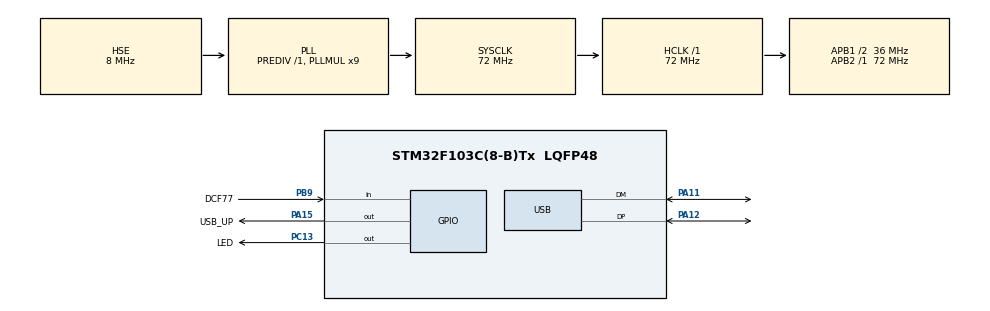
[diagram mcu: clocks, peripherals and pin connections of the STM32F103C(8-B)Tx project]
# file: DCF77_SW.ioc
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Mcu.Family=STM32F1
Mcu.Name=STM32F103C(8-B)Tx
Mcu.Package=LQFP48
NVIC.PriorityGroup=NVIC_PRIORITYGROUP_4
NVIC.RTC_IRQn=true\:0\:0\:false\:false\:true\:true
NVIC.USB_LP_CAN1_RX0_IRQn=true\:0\:0\:false\:false\:true\:false
PA11.Mode=Device
PA11.Signal=USB_DM
PA12.Mode=Device
PA12.Signal=USB_DP
PA13.Mode=Serial_Wire
PA13.Signal=SYS_JTMS-SWDIO
PA14.Mode=Serial_Wire
PA14.Signal=SYS_JTCK-SWCLK
PA15.GPIO_Label=USB_UP
PA15.PinState=GPIO_PIN_SET
PA15.Signal=GPIO_Output
PB9.GPIO_Label=DCF77
PB9.GPIO_PuPd=GPIO_PULLUP
PB9.Signal=GPIO_Input
PC13-TAMPER-RTC.GPIO_Label=LED
PC13-TAMPER-RTC.Signal=GPIO_Output
PC14-OSC32_IN.Mode=LSE-External-Oscillator
PC14-OSC32_IN.Signal=RCC_OSC32_IN
PC15-OSC32_OUT.Mode=LSE-External-Oscillator
PC15-OSC32_OUT.Signal=RCC_OSC32_OUT
PD0-OSC_IN.Mode=HSE-External-Oscillator
PD0-OSC_IN.Signal=RCC_OSC_IN
PD1-OSC_OUT.Mode=HSE-External-Oscillator
PD1-OSC_OUT.Signal=RCC_OSC_OUT
ProjectManager.HeapSize=0x200
ProjectManager.StackSize=0x400
ProjectManager.TargetToolchain=SW4STM32
RCC.AHBFreq_Value=72000000
RCC.APB1CLKDivider=RCC_HCLK_DIV2
RCC.APB1Freq_Value=36000000
RCC.APB1TimFreq_Value=72000000
RCC.APB2Freq_Value=72000000
RCC.APB2TimFreq_Value=72000000
RCC.HCLKFreq_Value=72000000
RCC.PLLMUL=RCC_PLL_MUL9
RCC.PLLSourceVirtual=RCC_PLLSOURCE_HSE
RCC.RTCClockSelection=RCC_RTCCLKSOURCE_LSE
RCC.SYSCLKFreq_VALUE=72000000
RCC.SYSCLKSource=RCC_SYSCLKSOURCE_PLLCLK
RCC.USBFreq_Value=48000000
RCC.USBPrescaler=RCC_USBCLKSOURCE_PLL_DIV1_5
RTC.Date=1
RTC.Hours=0
RTC.Minutes=0
RTC.Month=RTC_MONTH_JANUARY
RTC.Year=18
USB_DEVICE.CLASS_NAME_FS=CDC
USB_DEVICE.USBD_SELF_POWERED=0
USB_DEVICE.VirtualMode=Cdc
USB_DEVICE.VirtualModeFS=Cdc_FS
VP_RTC_No_RTC_Output.Mode=RTC_OUT_NO
VP_RTC_VS_RTC_Activate.Mode=RTC_Enabled
VP_RTC_VS_RTC_Calendar.Mode=RTC_Calendar
VP_USB_DEVICE_VS_USB_DEVICE_CDC_FS.Mode=CDC_FS
board=custom

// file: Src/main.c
/**
  ******************************************************************************
  * @file           : main.c
  * @brief          : Main program body
  ******************************************************************************
  * This notice applies to any and all portions of this file
  * that are not between comment pairs USER CODE BEGIN and
  * USER CODE END. Other portions of this file, whether
  * inserted by the user or by software development tools
  * are owned by their respective copyright owners.
  *
  * Copyright (c) 2018 STMicroelectronics International N.V.
  * All rights reserved.
  *
  * Redistribution and use in source and binary forms, with or without
  * modification, are permitted, provided that the following conditions are met:
  *
  * 1. Redistribution of source code must retain the above copyright notice,
  *    this list of conditions and the following disclaimer.
  * 2. Redistributions in binary form must reproduce the above copyright notice,
  *    this list of conditions and the following disclaimer in the documentation
  *    and/or other materials provided with the distribution.
  * 3. Neither the name of STMicroelectronics nor the names of other
  *    contributors to this software may be used to endorse or promote products
  *    derived from this software without specific written permission.
  * 4. This software, including modifications and/or derivative works of this
  *    software, must execute solely and exclusively on microcontroller or
  *    microprocessor devices manufactured by or for STMicroelectronics.
  * 5. Redistribution and use of this software other than as permitted under
  *    this license is void and will automatically terminate your rights under
  *    this license.
  *
  * THIS SOFTWARE IS PROVIDED BY STMICROELECTRONICS AND CONTRIBUTORS "AS IS"
  * AND ANY EXPRESS, IMPLIED OR STATUTORY WARRANTIES, INCLUDING, BUT NOT
  * LIMITED TO, THE IMPLIED WARRANTIES OF MERCHANTABILITY, FITNESS FOR A
  * PARTICULAR PURPOSE AND NON-INFRINGEMENT OF THIRD PARTY INTELLECTUAL PROPERTY
  * RIGHTS ARE DISCLAIMED TO THE FULLEST EXTENT PERMITTED BY LAW. IN NO EVENT
  * SHALL STMICROELECTRONICS OR CONTRIBUTORS BE LIABLE FOR ANY DIRECT, INDIRECT,
  * INCIDENTAL, SPECIAL, EXEMPLARY, OR CONSEQUENTIAL DAMAGES (INCLUDING, BUT NOT
  * LIMITED TO, PROCUREMENT OF SUBSTITUTE GOODS OR SERVICES; LOSS OF USE, DATA,
  * OR PROFITS; OR BUSINESS INTERRUPTION) HOWEVER CAUSED AND ON ANY THEORY OF
  * LIABILITY, WHETHER IN CONTRACT, STRICT LIABILITY, OR TORT (INCLUDING
  * NEGLIGENCE OR OTHERWISE) ARISING IN ANY WAY OUT OF THE USE OF THIS SOFTWARE,
  * EVEN IF ADVISED OF THE POSSIBILITY OF SUCH DAMAGE.
  *
  ******************************************************************************
  */
#include "main.h"
#include "stm32f1xx_hal.h"
#include "usb_device.h"

/* USER CODE BEGIN Includes */
#include "microrl.h"
#include "microrl_cmd.h"
#include "usbd_cdc_if.h"
#include "SEGGER_RTT.h"
#include "fifo.h"

/*
 * change this code in hal_rtc
 * Set updated time in decreasing counter by number of days elapsed
 * counter_time -= (days_elapsed * 24U * 3600U - 1);
 */
/* USER CODE END Includes */

RTC_HandleTypeDef hrtc;

/* USER CODE BEGIN PV */
/* Private variables ---------------------------------------------------------*/
microrl_t mcrl;
microrl_t * p_mcrl = &mcrl;

RTC_TimeTypeDef time_to_first_sync, time_of_first_sync, time_of_last_sync;
RTC_DateTypeDef date_to_first_sync, date_of_first_sync, date_of_last_sync;

uint32_t good_syncs = 0, bad_syncs = 0, bad_minutes = 0;

bool CDC_is_ready = false;
bool rtc_sec_irq_armed = false;
uint32_t tick_delay;
bool show_time = false;
bool show_date = false;
bool show_simple_time = false;
bool led_tack = false;
bool led_bypass_dcf77 = true;
bool led_display_dcf77 = false;
bool secf_flag = false;
bool first_minute = true;
bool first_received = true;
bool time_synced = false;

bool color_out = false;
bool tack_out = false;
/* USER CODE END PV */

void SystemClock_Config(void);
static void MX_GPIO_Init(void);
static void MX_RTC_Init(void);

/* USER CODE BEGIN PFP */
/* Private function prototypes -----------------------------------------------*/
void process_cdc_input_data(uint8_t* Buf, uint32_t *Len);
void print (const char * str);
/* USER CODE END PFP */

/* USER CODE BEGIN 0 */
void HAL_RTCEx_RTCEventCallback(RTC_HandleTypeDef *hrtc)
{
	rtc_sec_irq_armed = true;
	tick_delay = HAL_GetTick();
}

/*
 * seconds interrupt comes for the second change! RM0008 page 486 fig 180
 * so, we make 1 ms delay to be sure the new second is here
 */

bool poll_second_update (void)
{
	if (rtc_sec_irq_armed && (HAL_GetTick() - tick_delay > 1))
	{
		rtc_sec_irq_armed = false;
		return true;
	}
	return false;
}

void process_cdc_input_data(uint8_t* Buf, uint32_t *Len)
{
	for (uint32_t i = 0; i < (*Len); i++)
		fifo_push((buff_t) Buf[i]);
}

void print (const char * str)
{
	if ((!color_out) && (str[0] == '\e')) // don't print escape characters
		return;
	if (!CDC_is_ready)
		return;
	uint16_t len = 0;
	while (str[++len] != 0);
	uint32_t timeout = HAL_GetTick();
	while (((USBD_CDC_HandleTypeDef*)(hUsbDeviceFS.pClassData))->TxState!=0)
		if (HAL_GetTick() - timeout >= 5)
			break;
	CDC_Transmit_FS((uint8_t*)str, len);

#if defined (SEGGER_RTT_PRINT)
	char test_str[256];
	len = 0;
	uint16_t i = 0;
	while (str[len] != 0)
	{
		if (str[len] >= ' ')
			test_str[i++] = str[len];
		len++;
	}
	test_str[i] = '\0';
	SEGGER_RTT_WriteString(0,test_str);
#endif
}

int find_color_by_name(microrl_color_e color)
{
	for (int i = 0; i < microrl_color_lookup_length; i++)
	{
		if (microrl_color_lookup[i].name == color)
		{
			return i;
		}
	}
	return 0;
}

int print_color(const char * str, microrl_color_e color)
{
	print(microrl_color_lookup[find_color_by_name(color)].code);
	print(str);
	print(COLOR_NC);
	return 0;
}

int str_length(const char * str)
{
	int i = 0;
	while (str[i])
		i++;
	return i;
}

int print_help(int argc, const char * const * argv)
{
	print(_VER);
	print(ENDL);
	print ("Use ");
	print_color("TAB", C_GREEN);
	print(" key for completion");
	print (ENDL);
	print ("Available commands:");
	for (int i = 0; i < microrl_actions_length; i++)
	{
		if (microrl_actions[i].level == -1) // print synonyms
		{
			assert_param(i > 0);
			if (microrl_actions[i - 1].level != -1)
				print_color(" aka ", C_L_PURPLE);
			else
				print_color("/", C_L_PURPLE);
			print_color (microrl_actions[i].cmd, C_PURPLE);
		}
		else
		{
			print(ENDL);
			for (int e = -4; e < microrl_actions[i].level; e++)
				print(" ");
			print_color(microrl_actions[i].cmd, microrl_help_color[microrl_actions[i].level]);
			for (int e = 0; e < MICRORL_CMD_LENGTH + 2 -
								microrl_actions[i].level - str_length(microrl_actions[i].cmd); e++)
				print (" ");
			switch (microrl_actions[i].level){
			case 0:
				print ("-");
				break;
			case 1:
				print ("^");
				break;
			default:
				print ("#");
				break;
			}
			print (" ");
			print (microrl_actions[i].help_msg);
		}
	}
	print(ENDL);
	return 0;
}

int clear_screen(int argc, const char * const * argv)
{
	print ("\033[2J");    // ESC seq for clear entire screen
	print ("\033[H");     // ESC seq for move cursor at left-top corner
	return 0;
}

void print_time_string(RTC_TimeTypeDef * time)
{
	char str[9];
	str[0] = (((time->Hours)&0xF0)>>4) + '0';
	str[1] = (((time->Hours)&0x0F)>>0) + '0';
	str[2] = ':';
	str[3] = (((time->Minutes)&0xF0)>>4) + '0';
	str[4] = (((time->Minutes)&0x0F)>>0) + '0';
	str[5] = ':';
	str[6] = (((time->Seconds)&0xF0)>>4) + '0';
	str[7] = (((time->Seconds)&0x0F)>>0) + '0';
	str[8] = '\0';
	print(str);
}

/*
 * @param pointer char str[9]
 */
void time_to_string(char * str)
{
	RTC_TimeTypeDef time;
	HAL_RTC_GetTime(&hrtc, &time, RTC_FORMAT_BCD);
	str[0] = (((time.Hours)&0xF0)>>4) + '0';
	str[1] = (((time.Hours)&0x0F)>>0) + '0';
	str[2] = ':';
	str[3] = (((time.Minutes)&0xF0)>>4) + '0';
	str[4] = (((time.Minutes)&0x0F)>>0) + '0';
	str[5] = ':';
	str[6] = (((time.Seconds)&0xF0)>>4) + '0';
	str[7] = (((time.Seconds)&0x0F)>>0) + '0';
	str[8] = '\0';

}

int print_time (int argc, const char * const * argv)
{
	if (argc != 11) // TODO dirty hack
	{
		show_time = false;
		show_date = false;
	}
	char str[9];
	time_to_string (str);
	print(COLOR_LIGHT_BLUE);
	print(str);
	print(COLOR_NC);
	print(ENDL);
	return 0;
}
int led_show 		(int argc, const char * const * argv)
{
	print_color("LED is ", C_L_BLUE);
	if (HAL_GPIO_ReadPin(LED_GPIO_Port, LED_Pin))
		print_color("off", C_RED);
	else
		print_color("on", C_L_GREEN);
	print(ENDL);
	return 0;
}
int led_on 			(int argc, const char * const * argv)
{
	HAL_GPIO_WritePin(LED_GPIO_Port, LED_Pin, 0);
	led_show(argc, argv);
	return 0;
}
int led_off 		(int argc, const char * const * argv)
{
	HAL_GPIO_WritePin(LED_GPIO_Port, LED_Pin, 1);
	led_show(argc, argv);
	return 0;
}
int led_toggle 		(int argc, const char * const * argv)
{
	HAL_GPIO_TogglePin(LED_GPIO_Port, LED_Pin);
	led_show(argc, argv);
	return 0;
}

int led_tick 		(int argc, const char * const * argv)
{
	led_tack ^= 1;
	return 0;
}

int led_dcf77 		(int argc, const char * const * argv)
{
	if (argc > 2)
	{
		led_tack = false;
		led_display_dcf77 = true;
		return 0;
	}
	led_tack = false;
	led_bypass_dcf77 ^= 1;
	return 0;
}

int time_show 		(int argc, const char * const * argv)
{
	show_simple_time = ((argc > 2) && (strcmp(argv[2], "simple") == 0));
	print_color("Ctrl+C or 'time' to terminate", C_L_RED);
	print(ENDL);
	show_time = true;
	return 0;
}
int time_show_simple(int argc, const char * const * argv)
{
	print("time_show_simple");
	print(ENDL);
	for (int i = 0; i < argc; i++)
	{
		print_color(argv[i], C_L_BLUE);
		print(" ");
	}
	print(ENDL);
	return 0;
}

int time_set 		(int argc, const char * const * argv)
{
	RTC_TimeTypeDef sTime;
	if (argc != 3)
	{
		print (COLOR_RED);
		print ("enter time in hh:mm:ss format, ex: 'time set 18:03:22'");
		print (ENDL);
		print ("time updated on enter");
		print (COLOR_NC);
		print (ENDL);
		return 1;
	}
	sTime.Hours   = ((argv[2][0] - '0') << 4) | (argv[2][1] - '0');
	sTime.Minutes = ((argv[2][3] - '0') << 4) | (argv[2][4] - '0');
	sTime.Seconds = ((argv[2][6] - '0') << 4) | (argv[2][7] - '0');
	if (sTime.Hours > 0x23)
		sTime.Hours = 0x23;
	if (sTime.Minutes > 0x59)
		sTime.Minutes = 0x59;
	if (sTime.Seconds > 0x59)
		sTime.Seconds = 0x59;
	HAL_RTC_SetTime (&hrtc,  &sTime, RTC_FORMAT_BCD);
	print_time(argc, argv);
	return 0;
}

int date_show 		(int argc, const char * const * argv)
{
	show_simple_time = ((argc > 2) && (strcmp(argv[2], "simple") == 0));
	print_color("Ctrl+C or 'time' to terminate", C_L_RED);
	print(ENDL);
	show_date = true;
	show_time = true;
	return 0;
}

int date_set 		(int argc, const char * const * argv)
{
	RTC_DateTypeDef sDate;
	if (argc != 3)
	{
		print (COLOR_RED);
		print ("enter date in YYYY.MM.DD format, ex: 'date set 2018.11.02'");
		print (COLOR_NC);
		print (ENDL);
		return 1;
	}
	sDate.Year   = ((argv[2][2] - '0') << 4) | (argv[2][3] - '0');
	sDate.Month  = ((argv[2][5] - '0') << 4) | (argv[2][6] - '0');
	sDate.Date   = ((argv[2][8] - '0') << 4) | (argv[2][9] - '0');
	if (sDate.Year > 0x99)
		sDate.Year = 0x99;
	if (sDate.Month > 0x12)
		sDate.Month = 0x12;
	if (sDate.Date > 0x31)
		sDate.Date = 0x31;
	HAL_RTC_SetDate (&hrtc, &sDate, RTC_FORMAT_BCD);
	print_date(argc, argv);
	return 0;
}

void print_date_string(RTC_DateTypeDef * pDate)
{
	char str[11];
	str[0] = '2';
	str[1] = '0';
	str[2] = ((pDate->Year & 0xF0) >> 4) + '0';
	str[3] = (pDate->Year & 0x0F) + '0';
	str[4] = '.';
	str[5] = ((pDate->Month & 0xF0) >> 4) + '0';
	str[6] = (pDate->Month & 0x0F) + '0';
	str[7] = '.';
	str[8] = ((pDate->Date & 0xF0) >> 4) + '0';
	str[9] = (pDate->Date & 0x0F) + '0';
	str[10] = '\0';
	print(str);
}

/*
 * @param pointer char str[11]
 */
void date_to_string (char * str)
{
	RTC_DateTypeDef sDate;
	HAL_RTC_GetDate (&hrtc, &sDate, RTC_FORMAT_BCD);
	str[0] = '2';
	str[1] = '0';
	str[2] = ((sDate.Year & 0xF0) >> 4) + '0';
	str[3] = (sDate.Year & 0x0F) + '0';
	str[4] = '.';
	str[5] = ((sDate.Month & 0xF0) >> 4) + '0';
	str[6] = (sDate.Month & 0x0F) + '0';
	str[7] = '.';
	str[8] = ((sDate.Date & 0xF0) >> 4) + '0';
	str[9] = (sDate.Date & 0x0F) + '0';
	str[10] = '\0';
}

int print_weekday (int argc, const char * const * argv)
{
	RTC_DateTypeDef sDate;
	HAL_RTC_GetDate (&hrtc, &sDate, RTC_FORMAT_BCD);
	char str[2];
	str[0] = (sDate.WeekDay + '0');
	str[1] = '\0';
	print (str);
	print (ENDL);
	return 0;
}

void day_to_string (char * str)
{
	RTC_DateTypeDef sDate;
	HAL_RTC_GetDate (&hrtc, &sDate, RTC_FORMAT_BCD);
	// Day Printing
}

int print_date 		(int argc, const char * const * argv)
{
	char str[11];
	date_to_string(str);
	print(COLOR_LIGHT_BLUE);
	print(str);
	print(COLOR_NC);
	print(ENDL);
	return 0;
}

int echo_toggle 	(int argc, const char * const * argv)
{
	return 0;
}

int echo_on 		(int argc, const char * const * argv)
{
	return 0;
}

int echo_off 		(int argc, const char * const * argv)
{
	return 0;
}

int echo_enter 		(int argc, const char * const * argv)
{
	return 0;
}

int echo_show 		(int argc, const char * const * argv)
{
	return 0;
}

int color_toggle 	(int argc, const char * const * argv)
{
	color_out ^= 1;
	return 0;
}

int color_on 		(int argc, const char * const * argv)
{
	color_out = 1;
	print_color ("Color output is ON", C_GREEN);
	print(ENDL);
	return 0;
}

int color_off 		(int argc, const char * const * argv)
{
	color_out = 0;
	print ("Color output is OFF");
	return 0;
}

int color_show 		(int argc, const char * const * argv)
{
	if (color_out)
		print_color("Color output is ON", C_GREEN);
	else
		print ("Color output is OFF");
	return 0;
}

int tack_toggle		(int argc, const char * const * argv)
{
	tack_out ^= 1;
	return 0;
}

int execute (int argc, const char * const * argv)
{
//	print_help(argc, argv);
//	return 0;
	int (*func)   (int argc, const char * const * argv ) = NULL;

	/*
	 * iterate throw levels and synonyms - run the func from the first (main) synonym
	 * run last found functions with all parameters - functions should check or ignore additional parameters
	 * if nothing found - show err msg
	 */

	int last_main_synonym = 0;
	int synonym_level = 0;
	bool tokens_found = false;
	for (int i = 0; i < argc; i++)
	{
		for (int n = last_main_synonym; n < microrl_actions_length; n++)
		{
			tokens_found = false;
			int current_level = microrl_actions[n].level;
			// next higher level command found, break;
			if (current_level != -1)
				synonym_level = current_level; // save the synonym level
			if ((current_level != -1) && (current_level < i))
				break;
			if (current_level == i)
				last_main_synonym = n;
			if ((strcmp(argv[i], microrl_actions[n].cmd) == 0) &&
					(i == synonym_level))
			{
				tokens_found = true;
				func = microrl_actions[last_main_synonym++].func;
				break;
			}
		}
		if (!tokens_found)	// nothing found, nothing to do here
			break;
	}

	if (func != NULL)
	{
		return func(argc, argv); // function found
	} else if (tokens_found)
	{
		print_color ("command: '", C_L_RED);
		print_color ((char*)argv[0], C_L_RED);
		print_color ("' needs additional arguments", C_L_RED);
		print(ENDL);
		print_color ("use '", C_NC);
		print_color ("?", C_GREEN);
		print_color ("' for help", C_NC);
		print (ENDL);
		return 1;
	}
	else
	{
		print_color ("command: '", C_RED);
		print_color ((char*)argv[0], C_RED);
		print_color ("' not found", C_RED);
		print(ENDL);
		print_color ("use '", C_NC);
		print_color ("?", C_GREEN);
		print_color ("' for help", C_NC);
		print (ENDL);
		return 1;

	}
}

#ifdef _USE_COMPLETE
//*****************************************************************************
// completion callback for microrl library
char ** complet (int argc, const char * const * argv)
{
	int j = 0;

	compl_word [0] = NULL;

	/*
	 * if no parameters - print all cmd with friend =="" && father == ""
	 * if parameter == 1 search with parent == ""
	 * if parameter > 1 search with parent == (parameter-2)
	 */

	/*
	 * print cmd and synonyms with level == argc-1.
	 * if argc == 0 print without synonyms
	 */

	if (argc == 0)
	{
		// if there is no token in cmdline, just print all available token
		for (int i = 0; i < microrl_actions_length; i++) {
			if (microrl_actions[i].level == 0)
			compl_word[j++] = (char*) microrl_actions [i].cmd;
		}
	} else {
		// get last entered token
		char * bit = (char*)argv [argc-1];
		// iterate through our available token and match it
		// based on previous tokens in the line, find the correct one shift
		int last_main_synonym = 0;
		int synonym_level = 0;
		bool tokens_found = false;
		for (int i = 0; i < argc; i++)
		{
			for (int n = last_main_synonym; n < microrl_actions_length; n++)
			{
				tokens_found = false;
				int current_level = microrl_actions[n].level;
				// next higher level command found, break;
				if (current_level != -1)
					synonym_level = current_level; // save the synonym level
				if ((current_level != -1) && (current_level < i))
					break;
				if (current_level == i)
					last_main_synonym = n;
				if ((i == argc - 1) && (strstr(microrl_actions [n].cmd, bit) == microrl_actions [n].cmd) &&
										(i == synonym_level))
				{
					tokens_found = true;
					compl_word [j++] =(char*) microrl_actions [n].cmd;
				}
				else if ((strcmp(argv[i], microrl_actions[n].cmd) == 0) && (i == synonym_level))
				{
					last_main_synonym++;
					tokens_found = true;
					break;
				}
			}
			if (!tokens_found)	// nothing found, nothing to do here
				break;
		}
	}

	// note! last ptr in array always must be NULL!!!
	compl_word [j] = NULL;
	// return set of variants
	return compl_word;
}
#endif

void sigint (void)
{
	show_time = false;
	show_date = false;
	show_simple_time = false;
	led_display_dcf77 = false;
	print (ENDL);
	print ("^C catched!");
	int i = 0;
	while (ENTER[i])
		microrl_insert_char(p_mcrl, ENTER[i++]);
}

uint32_t count_bits_in_u32(uint32_t i){
	i -= ((i >> 1) & 0x55555555);
	i = (i & 0x33333333) + ((i >> 2) & 0x33333333);
	return (((i + (i >> 4)) & 0x0F0F0F0F) * 0x01010101) >> 24;
}

void print_u32 (uint32_t dig)
{
	char str [6];
	for (int i = 0; i < 5; i++)
	{
		str[4 - i] = dig % 10 + '0';
		dig /= 10;
	}
	str[5] = '\0';
	print (str);
}
void print_x8 (uint8_t dig)
{
	char str [5];
	str[0] = '0';
	str[1] = 'x';
	str[4] = '\0';
	str[3] = (dig & 0x0F) + '0';
	if (str[3] > '9')
		str[3] = str[3] - '0' - 10 + 'A';
	dig >>= 4;
	str[2] = (dig & 0x0F) + '0';
	if (str[2] > '9')
		str[2] = str[2] - '0' - 10 + 'A';
	print(str);
}
int calculate_time(bool * time_array)
{
	if (!first_minute && (time_array[0] || time_array[15] || !time_array[20]))
		return 1;
	bool checksum;
	RTC_TimeTypeDef sTime;
	sTime.Hours = 0;
	sTime.Minutes = 0;
	sTime.Seconds = 0;
	for (int i = 0; i < 6; i++)
	{
		sTime.Hours   |= (time_array[29 + i] << i);
	}

	checksum = 0;
	for (int i = 0; i < 7; i++)
		checksum ^= time_array[29 + i];
	if (checksum)
		return 1;
	if ((sTime.Hours > 0x23) || ((sTime.Hours & 0x0F) > 0x9))
		return 1;

	for (int i = 0; i < 7; i++)
	{
		sTime.Minutes   |= (time_array[21 + i] << i);
	}

	checksum = 0;
	for (int i = 0; i < 8; i++)
		checksum ^= time_array[21 + i];
	if (checksum)
		return 1;
	if ((sTime.Minutes > 0x59) || ((sTime.Minutes & 0x0F) > 0x9))
		return 1;

	RTC_DateTypeDef sDate;
	sDate.Year = 0;
	sDate.Month = 0;
	sDate.Date = 0;

	for (int i = 0; i < 8; i++)
	{
		sDate.Year   |= (time_array[50 + i] << i);
	}

	for (int i = 0; i < 5; i++)
	{
		sDate.Month   |= (time_array[45 + i] << i);
	}

	for (int i = 0; i < 6; i++)
	{
		sDate.Date   |= (time_array[36 + i] << i);
	}

	checksum = 0;
	for (int i = 0; i < 23; i++)
		checksum ^= time_array[36 + i];
	if (checksum)
		return 1;

	if ((sDate.Year  > 0x99) || ((sDate.Year  & 0x0F) > 0x09))
		return 1;
	if ((sDate.Month > 0x12) || ((sDate.Month & 0x0F) > 0x09))
		return 1;
	if ((sDate.Date  > 0x31) || ((sDate.Date  & 0x0F) > 0x09))
		return 1;

	if (!time_synced)
	{
		HAL_RTC_GetTime(&hrtc, &time_to_first_sync, RTC_FORMAT_BCD);
		HAL_RTC_GetDate(&hrtc, &date_to_first_sync, RTC_FORMAT_BCD);
	}
	HAL_RTC_SetTime (&hrtc, &sTime, RTC_FORMAT_BCD);
	HAL_RTC_SetDate (&hrtc, &sDate, RTC_FORMAT_BCD);
	if (HAL_GetTick() - tick_delay > 500) // if time updated before the second tick, make a new tick!
		HAL_RTCEx_RTCEventCallback(&hrtc);
	print_color(" sync ", C_YELLOW);
	if (!time_synced)
	{
		HAL_RTC_GetTime(&hrtc, &time_of_first_sync, RTC_FORMAT_BCD);
		HAL_RTC_GetDate(&hrtc, &date_of_first_sync, RTC_FORMAT_BCD);
	}
	HAL_RTC_GetTime(&hrtc, &time_of_last_sync, RTC_FORMAT_BCD);
	HAL_RTC_GetDate(&hrtc, &date_of_last_sync, RTC_FORMAT_BCD);
	time_synced = true;
	return 0;
}

void process_time (void)
{
	static uint32_t time_delay = 0;
	static uint32_t zero_cnt = 0, one_cnt = 0;
	static uint32_t pos_cnt = 0;
	static bool time_array[60];
	static bool bad_minute = false;
	static bool first_minute = true;
	bool time_bit = HAL_GPIO_ReadPin(DCF77_GPIO_Port, DCF77_Pin);
	if ((HAL_GetTick() - time_delay >= 10) || (time_bit && (zero_cnt > 170)))
		  {
			  time_delay = HAL_GetTick();
			  if (time_bit)
			  {
				  if ((170 < zero_cnt) && (zero_cnt < 200))
				  {
					  print(ENDL);
					  print(" POS: ");
					  print_u32(pos_cnt);
					  print("; ");
					  if (bad_minute)
						  print_color(" BAD; ", C_RED);
					  if (first_minute && !bad_minute && ((58-21) <= pos_cnt) && (pos_cnt < 58))
					  {
						  print(ENDL);
						  print_color(">", C_RED);
						  for (int i = 0; i < 59; i++)
							  print(time_array[i]?"1":"0");
						  print_color("<", C_RED);
						  print(ENDL);

						  for (int i = 0; i <= pos_cnt; i++)
						  {
							  time_array[58 - i] = time_array[pos_cnt - i];
						  }
						  pos_cnt = 58;
						  print_color(">", C_GREEN);
						  for (int i = 0; i < 59; i++)
							  print(time_array[i]?"1":"0");
						  print_color("<", C_GREEN);
						  print(ENDL);
					  }
					  if ((!bad_minute) && (pos_cnt >= 58))
					  {
						 if (calculate_time(time_array))
						 {
							 bad_syncs++;
							 print(ENDL);
							 print_color(">", C_RED);
							 for (int i = 0; i < 59; i++)
								 print(time_array[i]?"1":"0");
							 print_color("<", C_RED);
							 print(ENDL);
						 }
						 else
							 good_syncs++;
					  } else
						  bad_minutes++;
					  bad_minute = false;
					  first_minute = false;
					  pos_cnt = 0;

					  char time[9];
					  char date[11];
					  print(COLOR_BROWN);
					  time_to_string (time);
					  date_to_string(date);
					  print(date);
					  print(" ");
					  print(time);
					  print(COLOR_NC);

				  } else if ((70 <= zero_cnt) && (zero_cnt <= 94) && (!bad_minute))
				  {
					  if (pos_cnt >= 59)
						  bad_minute = true;
					  else
						  pos_cnt++;
					  first_received = false;
				  } else if (zero_cnt)
				  {
					  bad_minute = !first_received;
					  first_received = false;
				  }
				  one_cnt++;
				  zero_cnt = 0;
			  } else {
//				  if (one_cnt)
//				  {
//					  print_time(11, 0);
//					  print(" ");
//				  }
				  if ((7 <= one_cnt) && (one_cnt <= 14))
				  {
					  time_array[pos_cnt] = false;
//					  print("0");
				  } else if ((16 <= one_cnt) && (one_cnt <= 24))
				  {
					  time_array[pos_cnt] = true;
//					  print("1");
				  } else if (one_cnt) {
					  print_color(" -", C_RED);
					  print(COLOR_RED);
					  print_u32(one_cnt);
					  print_color("-", C_RED);
					  bad_minute = !first_received;
					  first_received = false;
				  }
				  zero_cnt++;
				  one_cnt = 0;
			  }
//
//			  if (time_bit)
//				  print("|");
//			  else
//				  print(".");
		  }
}

/* USER CODE END 0 */

int main(void)
{

  /* MCU Configuration----------------------------------------------------------*/

  /* Reset of all peripherals, Initializes the Flash interface and the Systick. */
  HAL_Init();

  /* Configure the system clock */
  SystemClock_Config();

  /* USER CODE BEGIN SysInit */
  CDC_set_receive_callback(process_cdc_input_data);

  /* USER CODE END SysInit */

  /* Initialize all configured peripherals */
  MX_GPIO_Init();
  MX_USB_DEVICE_Init();
  MX_RTC_Init();
  /* USER CODE BEGIN 2 */
  microrl_init(p_mcrl, print);
  // set callback for execute
  microrl_set_execute_callback (p_mcrl, execute);

#ifdef _USE_COMPLETE
  // set callback for completion
  microrl_set_complete_callback (p_mcrl, complet);
#endif
  // set callback for Ctrl+C
  microrl_set_sigint_callback (p_mcrl, sigint);
  /* USER CODE END 2 */

  /* Infinite loop */
  /* USER CODE BEGIN WHILE */
  SEGGER_RTT_Init();
  HAL_GPIO_WritePin(USB_UP_GPIO_Port, USB_UP_Pin, 0);
  HAL_Delay(1);
  CDC_is_ready = true;
  HAL_RTCEx_SetSecond_IT (&hrtc);
  for (int i = 51; i > 0 ; i--)
  {
	  HAL_Delay(100);
	  HAL_GPIO_TogglePin(LED_GPIO_Port, LED_Pin);
  }

  while (1)
  {
	  process_time();

	  while (!fifo_is_empty())
		  microrl_insert_char(p_mcrl, (int) fifo_pop());

	  if (led_bypass_dcf77)
		  HAL_GPIO_WritePin(LED_GPIO_Port, LED_Pin, (!time_synced)^HAL_GPIO_ReadPin(DCF77_GPIO_Port, DCF77_Pin));

	  if (poll_second_update ())
	  {

		  RTC_TimeTypeDef time;
		  RTC_DateTypeDef date;
		  HAL_RTC_GetTime(&hrtc, &time, RTC_FORMAT_BCD);
		  HAL_RTC_GetDate(&hrtc, &date, RTC_FORMAT_BCD);
		  if (tack_out)
		  {
			  if (time.Seconds == 0)
			  {
				  print(ENDL);
				  if (time_synced)
					  print(COLOR_YELLOW);
				  else
					  print(COLOR_RED);
				  print_date_string(&date);
				  print (" ");
				  print_time_string(&time);
				  print(COLOR_NC);
				  if (time_synced)
				  {
					  print ("; to first: ");
					  print (COLOR_LIGHT_BLUE);
					  //		  print_date_string(&date_to_first_sync);
					  //		  print (" ");
					  print_time_string(&time_to_first_sync);
					  print (COLOR_NC);
					  print ("; first sync: ");
					  print (COLOR_BLUE);
					  print_time_string(&time_of_first_sync);
					  print (COLOR_NC);
					  print("; last sync: ");
					  print (COLOR_GREEN);
					  print_time_string(&time_of_last_sync);
					  print (COLOR_NC);
					  print ("; good/wrong/bad: ");
					  print (COLOR_GREEN);
					  print_u32(good_syncs);
					  print_color("/", C_NC);
					  print (COLOR_LIGHT_RED);
					  print_u32(bad_syncs);
					  print_color("/", C_NC);
					  print (COLOR_RED);
					  print_u32(bad_minutes);
					  print (COLOR_NC);
				  }
			  } else {
				  if (time.Seconds == 0x01)
					  print(ENDL);
				  if ((time.Seconds & 0x0F) == 0)
				  {
					  char str[4];
					  str[0] = ((time.Seconds >> 4) & 0x0F) + '0';
					  str[1] = ((time.Seconds >> 0) & 0x0F) + '0';
					  str[2] = ' ';
					  str[2] = '\0';
					  print(str);
				  } else if ((time.Seconds & 0x0F) == 5)
					  print("|");
				  else
					  print (".");
			  }
		  }
		  if (show_time)
		  {
			  if (!show_simple_time)
				  print("\r ");
			  else
				  print (ENDL);
			  char time[9];
			  char date[11];
			  time_to_string (time);
			  if(show_date)
				  date_to_string(date);
			  if (!show_simple_time)
				  print(COLOR_PURPLE);
			  if (show_date)
			  {
				  print(date);
				  print(" ");
			  }
			  print(time);
			  if (!show_simple_time)
			  {
				  print(COLOR_NC);
				  print("\r");
			  }
		  }

		  if (led_tack)
		  {
			  HAL_GPIO_TogglePin(LED_GPIO_Port, LED_Pin);
			  HAL_Delay(100);
			  HAL_GPIO_TogglePin(LED_GPIO_Port, LED_Pin);
		  }
	  }
  /* USER CODE END WHILE */

  }

}

void SystemClock_Config(void)
{

  RCC_OscInitTypeDef RCC_OscInitStruct;
  RCC_ClkInitTypeDef RCC_ClkInitStruct;
  RCC_PeriphCLKInitTypeDef PeriphClkInit;

    /**Initializes the CPU, AHB and APB busses clocks
    */
  RCC_OscInitStruct.OscillatorType = RCC_OSCILLATORTYPE_HSE|RCC_OSCILLATORTYPE_LSE;
  RCC_OscInitStruct.HSEState = RCC_HSE_ON;
  RCC_OscInitStruct.HSEPredivValue = RCC_HSE_PREDIV_DIV1;
  RCC_OscInitStruct.LSEState = RCC_LSE_ON;
  RCC_OscInitStruct.HSIState = RCC_HSI_ON;
  RCC_OscInitStruct.PLL.PLLState = RCC_PLL_ON;
  RCC_OscInitStruct.PLL.PLLSource = RCC_PLLSOURCE_HSE;
  RCC_OscInitStruct.PLL.PLLMUL = RCC_PLL_MUL9;
  if (HAL_RCC_OscConfig(&RCC_OscInitStruct) != HAL_OK)
  {
    _Error_Handler(__FILE__, __LINE__);
  }

    /**Initializes the CPU, AHB and APB busses clocks
    */
  RCC_ClkInitStruct.ClockType = RCC_CLOCKTYPE_HCLK|RCC_CLOCKTYPE_SYSCLK
                              |RCC_CLOCKTYPE_PCLK1|RCC_CLOCKTYPE_PCLK2;
  RCC_ClkInitStruct.SYSCLKSource = RCC_SYSCLKSOURCE_PLLCLK;
  RCC_ClkInitStruct.AHBCLKDivider = RCC_SYSCLK_DIV1;
  RCC_ClkInitStruct.APB1CLKDivider = RCC_HCLK_DIV2;
  RCC_ClkInitStruct.APB2CLKDivider = RCC_HCLK_DIV1;

  if (HAL_RCC_ClockConfig(&RCC_ClkInitStruct, FLASH_LATENCY_2) != HAL_OK)
  {
    _Error_Handler(__FILE__, __LINE__);
  }

  PeriphClkInit.PeriphClockSelection = RCC_PERIPHCLK_RTC|RCC_PERIPHCLK_USB;
  PeriphClkInit.RTCClockSelection = RCC_RTCCLKSOURCE_LSE;
  PeriphClkInit.UsbClockSelection = RCC_USBCLKSOURCE_PLL_DIV1_5;
  if (HAL_RCCEx_PeriphCLKConfig(&PeriphClkInit) != HAL_OK)
  {
    _Error_Handler(__FILE__, __LINE__);
  }

    /**Configure the Systick interrupt time
    */
  HAL_SYSTICK_Config(HAL_RCC_GetHCLKFreq()/1000);

    /**Configure the Systick
    */
  HAL_SYSTICK_CLKSourceConfig(SYSTICK_CLKSOURCE_HCLK);

  /* SysTick_IRQn interrupt configuration */
  HAL_NVIC_SetPriority(SysTick_IRQn, 0, 0);
}

/* RTC init function */
static void MX_RTC_Init(void)
{

  RTC_TimeTypeDef sTime;
  RTC_DateTypeDef DateToUpdate;

    /**Initialize RTC Only
    */
  hrtc.Instance = RTC;
  hrtc.Init.AsynchPrediv = RTC_AUTO_1_SECOND;
  hrtc.Init.OutPut = RTC_OUTPUTSOURCE_NONE;
  if (HAL_RTC_Init(&hrtc) != HAL_OK)
  {
    _Error_Handler(__FILE__, __LINE__);
  }

    /**Initialize RTC and set the Time and Date
    */
  sTime.Hours = 0x0;
  sTime.Minutes = 0x0;
  sTime.Seconds = 0x0;

  if (HAL_RTC_SetTime(&hrtc, &sTime, RTC_FORMAT_BCD) != HAL_OK)
  {
    _Error_Handler(__FILE__, __LINE__);
  }

  DateToUpdate.WeekDay = RTC_WEEKDAY_MONDAY;
  DateToUpdate.Month = RTC_MONTH_JANUARY;
  DateToUpdate.Date = 0x1;
  DateToUpdate.Year = 0x0;

  if (HAL_RTC_SetDate(&hrtc, &DateToUpdate, RTC_FORMAT_BCD) != HAL_OK)
  {
    _Error_Handler(__FILE__, __LINE__);
  }

}

/** Configure pins as
        * Analog
        * Input
        * Output
        * EVENT_OUT
        * EXTI
*/
static void MX_GPIO_Init(void)
{

  GPIO_InitTypeDef GPIO_InitStruct;

  /* GPIO Ports Clock Enable */
  __HAL_RCC_GPIOC_CLK_ENABLE();
  __HAL_RCC_GPIOD_CLK_ENABLE();
  __HAL_RCC_GPIOA_CLK_ENABLE();
  __HAL_RCC_GPIOB_CLK_ENABLE();

  /*Configure GPIO pin Output Level */
  HAL_GPIO_WritePin(LED_GPIO_Port, LED_Pin, GPIO_PIN_RESET);

  /*Configure GPIO pin Output Level */
  HAL_GPIO_WritePin(USB_UP_GPIO_Port, USB_UP_Pin, GPIO_PIN_SET);

  /*Configure GPIO pin : LED_Pin */
  GPIO_InitStruct.Pin = LED_Pin;
  GPIO_InitStruct.Mode = GPIO_MODE_OUTPUT_PP;
  GPIO_InitStruct.Pull = GPIO_NOPULL;
  GPIO_InitStruct.Speed = GPIO_SPEED_FREQ_LOW;
  HAL_GPIO_Init(LED_GPIO_Port, &GPIO_InitStruct);

  /*Configure GPIO pin : USB_UP_Pin */
  GPIO_InitStruct.Pin = USB_UP_Pin;
  GPIO_InitStruct.Mode = GPIO_MODE_OUTPUT_PP;
  GPIO_InitStruct.Pull = GPIO_NOPULL;
  GPIO_InitStruct.Speed = GPIO_SPEED_FREQ_LOW;
  HAL_GPIO_Init(USB_UP_GPIO_Port, &GPIO_InitStruct);

  /*Configure GPIO pin : DCF77_Pin */
  GPIO_InitStruct.Pin = DCF77_Pin;
  GPIO_InitStruct.Mode = GPIO_MODE_INPUT;
  GPIO_InitStruct.Pull = GPIO_PULLUP;
  HAL_GPIO_Init(DCF77_GPIO_Port, &GPIO_InitStruct);

}

void _Error_Handler(char *file, int line)
{
  while(1)
  {
  }
}

/************************ (C) COPYRIGHT STMicroelectronics *****END OF FILE****/
